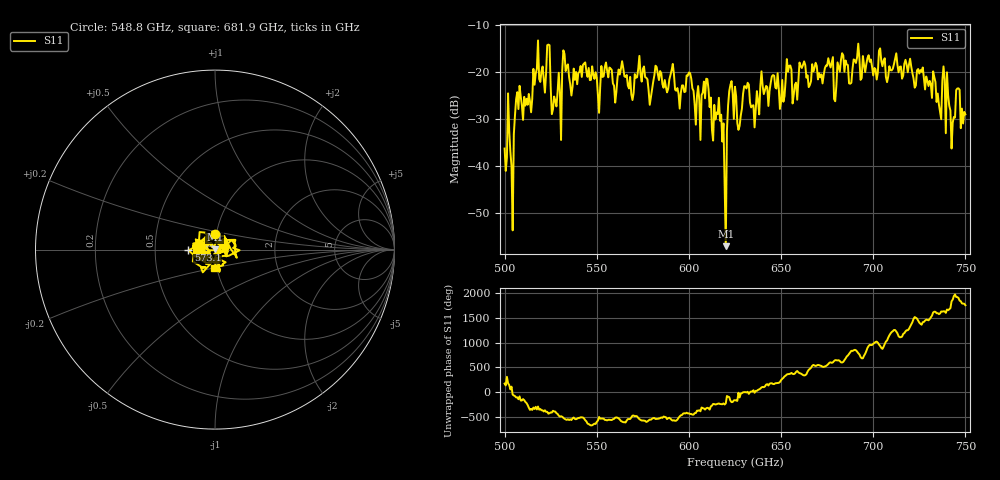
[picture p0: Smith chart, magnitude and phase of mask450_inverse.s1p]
!Created with skrf (http://scikit-rf.org).
# GHz S MA R 50.0
!freq magS11 angS11
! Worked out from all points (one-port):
!   401 points, 500 GHz to 750 GHz, reference 50 ohm
!   lowest |S11| = -57.0 dB at 620 GHz (marker M1), VSWR 1.00, Z = 49.9 + j0.0931 ohm
!   |S11| at or under -10 dB: start of sweep to end of sweep
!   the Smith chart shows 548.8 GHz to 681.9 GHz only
!   S11 on the Smith chart (normalised r, x): 548.8 GHz: 0.98, +0.17; 573.1 GHz: 0.74, -0.01; 681.9 GHz: 0.97, -0.20
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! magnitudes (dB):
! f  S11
! 500 GHz  -36.3
! 504.4 GHz  -53.6
! 506.9 GHz  -24.3
! 513.8 GHz  -26.2
! 516.9 GHz  -20.4
! 523.8 GHz  -14.2
! 526.9 GHz  -25.2
! 531.2 GHz  -19.7
! 533.1 GHz  -19.8
! 536.2 GHz  -25.0
! 548.8 GHz  -21.5
! 562.5 GHz  -20.5
! 568.8 GHz  -24.8
! 573.1 GHz  -16.6
! 593.8 GHz  -23.4
! 600 GHz  -20.1
! 605 GHz  -23.0
! 609.4 GHz  -21.4
! 617.5 GHz  -29.1
! 618.8 GHz  -30.9
! 620 GHz  -57.0
! 622.5 GHz  -22.8
! 625 GHz  -23.1
! 656.2 GHz  -26.7
! 681.9 GHz  -19.9
! 687.5 GHz  -22.5
! 718.8 GHz  -20.1
! 750 GHz  -29.0
